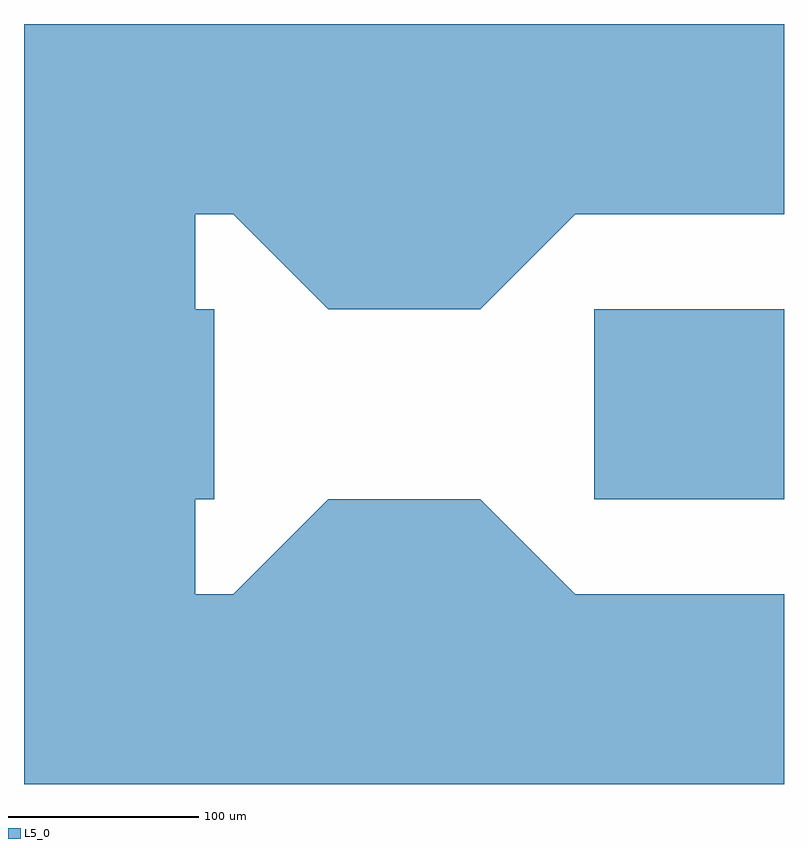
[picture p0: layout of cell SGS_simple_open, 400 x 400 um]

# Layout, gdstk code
import gdstk
lib = gdstk.Library(unit=1e-6, precision=5e-10)
def R(c, l, rs):  # rectangles x0, y0, x1, y1
    for r in rs: c.add(gdstk.rectangle(r[:2], r[2:], *l))
def A(c, l, x, y, w, h, nx, ny, dx, dy):  # array of equal rectangles
    R(c, l, [(x+i*dx, y+j*dy, x+i*dx+w, y+j*dy+h) for i in range(nx) for j in range(ny)])
def P(c, l, *ps):  # polygons
    for p in ps: c.add(gdstk.Polygon(p, *l))
L5_0 = (5, 0)

sgs_simple_open = lib.new_cell('SGS_simple_open')
A(sgs_simple_open, L5_0, -175, -190, 100, 100, 1, 3, 0, 150)
A(sgs_simple_open, L5_0, 125, -190, 100, 100, 1, 3, 0, 150)
R(sgs_simple_open, L5_0, [(-175,-190,-85,210), (-95,-190,140,-90), (-15,-95,65,-40), (-15,60,65,115), (-95,110,140,210)])
P(sgs_simple_open, L5_0, [(65,-40),(115,-90),(65,-90)],
  [(-15,-40),(-65,-90),(-15,-90)],
  [(65,60),(115,110),(65,110)],
  [(-15,60),(-65,110),(-15,110)])

lib.write_gds('SGS_simple_open.gds')
